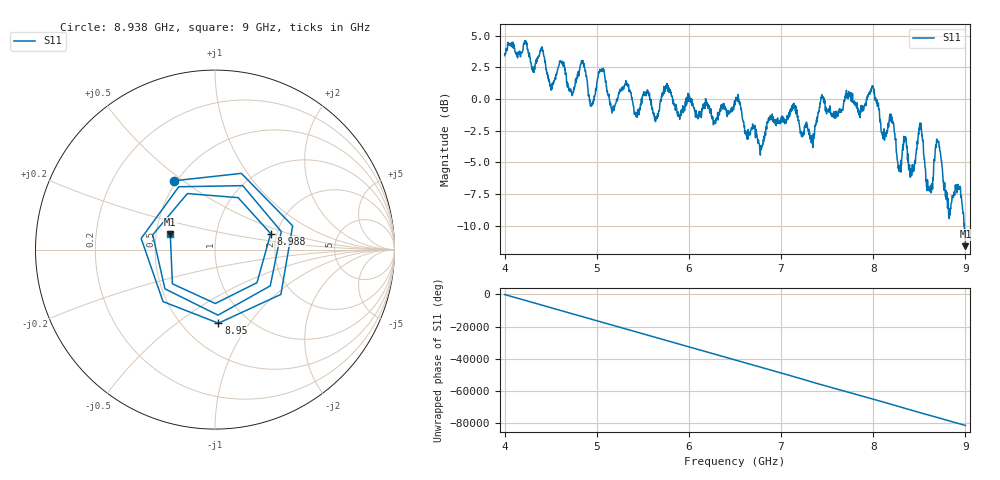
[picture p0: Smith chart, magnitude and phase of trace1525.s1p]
! Created with skrf 1.8.0 (http://scikit-rf.org).
# Hz S RI R 50.0
!freq ReS11 ImS11
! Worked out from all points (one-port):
!   1601 points, 4 GHz to 9 GHz, reference 50 ohm
!   lowest |S11| = -11.6 dB at 9 GHz (marker M1), VSWR 1.71, Z = 29.7 + j5.4 ohm
!   |S11| at or under -10 dB: 8.988784 GHz to end of sweep
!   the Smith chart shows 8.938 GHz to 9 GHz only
!   S11 on the Smith chart (normalised r, x): 8.938 GHz: 0.49, +0.46; 8.95 GHz: 0.74, -0.73; 8.988 GHz: 1.85, +0.37; 9 GHz: 0.59, +0.11
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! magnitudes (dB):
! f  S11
! 4 GHz  3.4
! 4.625 GHz  2.9
! 4.722 GHz  0.6
! 4.85 GHz  3.0
! 4.944 GHz  -0.5
! 5.053 GHz  2.3
! 5.166 GHz  -1.1
! 5.25 GHz  0.5
! 5.875 GHz  -1.1
! 6.5 GHz  -0.5
! 6.778 GHz  -3.7
! 7.125 GHz  -0.6
! 7.338 GHz  -3.0
! 7.444 GHz  0.3
! 7.75 GHz  0.1
! 7.994 GHz  0.9
! 8.109 GHz  -2.6
! 8.203 GHz  -1.4
! 8.281 GHz  -5.4
! 8.375 GHz  -4.3
! 8.512 GHz  -2.2
! 8.603 GHz  -6.9
! 8.7 GHz  -3.4
! 8.816 GHz  -8.7
! 8.938 GHz  -7.0
! 8.95 GHz  -7.7
! 8.988 GHz  -9.8
! 9 GHz  -11.6
